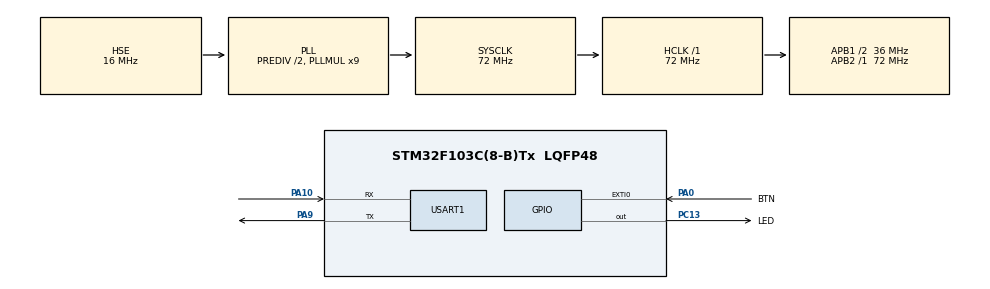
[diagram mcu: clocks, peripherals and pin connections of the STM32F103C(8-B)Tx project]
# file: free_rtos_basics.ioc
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Mcu.Family=STM32F1
RCC.PLLSourceVirtual=RCC_PLLSOURCE_HSE
FREERTOS.Queues01=tickQueue,16,uint32_t,0,Dynamic,NULL,NULL
FREERTOS.Tasks01=defaultTask,24,128,StartDefaultTask,Default,NULL,Dynamic,NULL,NULL;ControlTask,24,128,StartTask02,Default,NULL,Dynamic,NULL,NULL;LedTask,8,64,StartTask03,Default,NULL,Dynamic,NULL,NULL;TickTask,8,128,StartTask04,Default,NULL,Dynamic,NULL,NULL;ButtonTask,8,64,StartTask05,Default,NULL,Dynamic,NULL,NULL;StatsTask,8,128,StartTask06,Default,NULL,Dynamic,NULL,NULL
FREERTOS.BinarySemaphores01=ledSemaphore,Dynamic,NULL;buttonSemaphore,Dynamic,NULL
PD1-OSC_OUT.Mode=HSE-External-Oscillator
PA10.Mode=Asynchronous
PC13-TAMPER-RTC.Signal=GPIO_Output
PD0-OSC_IN.Signal=RCC_OSC_IN
RCC.APB1CLKDivider=RCC_HCLK_DIV2
PA0-WKUP.GPIO_ModeDefaultEXTI=GPIO_MODE_IT_RISING
RCC.SYSCLKSource=RCC_SYSCLKSOURCE_PLLCLK
ProjectManager.StackSize=0x400
PA0-WKUP.GPIO_Label=BTN
PA0-WKUP.Signal=GPXTI0
VP_FREERTOS_VS_CMSIS_V2.Mode=CMSIS_V2
PD1-OSC_OUT.Signal=RCC_OSC_OUT
PA13.Signal=SYS_JTMS-SWDIO
PA9.Mode=Asynchronous
ProjectManager.TargetToolchain=STM32CubeIDE
RCC.HCLKFreq_Value=72000000
RCC.APB2TimFreq_Value=72000000
PA9.Signal=USART1_TX
RCC.USBFreq_Value=72000000
FREERTOS.configMINIMAL_STACK_SIZE=64
RCC.AHBFreq_Value=72000000
PD0-OSC_IN.Mode=HSE-External-Oscillator
RCC.HSE_VALUE=16000000
board=custom
PC13-TAMPER-RTC.GPIO_Label=LED
RCC.PLLMUL=RCC_PLL_MUL9
RCC.APB2Freq_Value=72000000
PA14.Mode=Serial_Wire
PA13.Mode=Serial_Wire
Mcu.Name=STM32F103C(8-B)Tx
FREERTOS.configTOTAL_HEAP_SIZE=6144 
RCC.SYSCLKFreq_VALUE=72000000
Mcu.Package=LQFP48
FREERTOS.configUSE_NEWLIB_REENTRANT=1
NVIC.TimeBase=TIM4_IRQn
RCC.HSEDivPLL=RCC_HSE_PREDIV_DIV2
USART1.VirtualMode=VM_ASYNC
NVIC.TimeBaseIP=TIM4
PA10.Signal=USART1_RX
PA14.Signal=SYS_JTCK-SWCLK
ProjectManager.HeapSize=0x200
VP_SYS_VS_tim4.Mode=TIM4
FREERTOS.Mutexes01=ledMutex,Dynamic,NULL;printMutex,Dynamic,NULL
NVIC.PriorityGroup=NVIC_PRIORITYGROUP_4
RCC.APB1TimFreq_Value=72000000
NVIC.USART1_IRQn=true\:5\:0\:false\:false\:true\:true\:true\:true
NVIC.TIM4_IRQn=true\:0\:0\:false\:false\:true\:false\:false\:true
RCC.APB1Freq_Value=36000000

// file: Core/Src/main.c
/* USER CODE BEGIN Header */
/**
  ******************************************************************************
  * @file           : main.c
  * @brief          : Main program body
  ******************************************************************************
  * @attention
  *
  * <h2><center>&copy; Copyright (c) 2026 STMicroelectronics.
  * All rights reserved.</center></h2>
  *
  * This software component is licensed by ST under BSD 3-Clause license,
  * the "License"; You may not use this file except in compliance with the
  * License. You may obtain a copy of the License at:
  *                        opensource.org/licenses/BSD-3-Clause
  *
  ******************************************************************************
  */
/* USER CODE END Header */
#include "main.h"
#include "cmsis_os.h"

UART_HandleTypeDef huart1;

/* Definitions for defaultTask */
osThreadId_t defaultTaskHandle;
const osThreadAttr_t defaultTask_attributes = {
  .name = "defaultTask",
  .stack_size = 128 * 4,
  .priority = (osPriority_t) osPriorityNormal,
};
/* Definitions for ControlTask */
osThreadId_t ControlTaskHandle;
const osThreadAttr_t ControlTask_attributes = {
  .name = "ControlTask",
  .stack_size = 128 * 4,
  .priority = (osPriority_t) osPriorityNormal,
};
/* Definitions for LedTask */
osThreadId_t LedTaskHandle;
const osThreadAttr_t LedTask_attributes = {
  .name = "LedTask",
  .stack_size = 64 * 4,
  .priority = (osPriority_t) osPriorityLow,
};
/* Definitions for TickTask */
osThreadId_t TickTaskHandle;
const osThreadAttr_t TickTask_attributes = {
  .name = "TickTask",
  .stack_size = 128 * 4,
  .priority = (osPriority_t) osPriorityLow,
};
/* Definitions for ButtonTask */
osThreadId_t ButtonTaskHandle;
const osThreadAttr_t ButtonTask_attributes = {
  .name = "ButtonTask",
  .stack_size = 64 * 4,
  .priority = (osPriority_t) osPriorityLow,
};
/* Definitions for StatsTask */
osThreadId_t StatsTaskHandle;
const osThreadAttr_t StatsTask_attributes = {
  .name = "StatsTask",
  .stack_size = 128 * 4,
  .priority = (osPriority_t) osPriorityLow,
};
/* Definitions for tickQueue */
osMessageQueueId_t tickQueueHandle;
const osMessageQueueAttr_t tickQueue_attributes = {
  .name = "tickQueue"
};
/* Definitions for ledMutex */
osMutexId_t ledMutexHandle;
const osMutexAttr_t ledMutex_attributes = {
  .name = "ledMutex"
};
/* Definitions for printMutex */
osMutexId_t printMutexHandle;
const osMutexAttr_t printMutex_attributes = {
  .name = "printMutex"
};
/* Definitions for ledSemaphore */
osSemaphoreId_t ledSemaphoreHandle;
const osSemaphoreAttr_t ledSemaphore_attributes = {
  .name = "ledSemaphore"
};
/* Definitions for buttonSemaphore */
osSemaphoreId_t buttonSemaphoreHandle;
const osSemaphoreAttr_t buttonSemaphore_attributes = {
  .name = "buttonSemaphore"
};

void SystemClock_Config(void);
static void MX_GPIO_Init(void);
static void MX_USART1_UART_Init(void);
void StartDefaultTask(void *argument);
void StartTask02(void *argument);
void StartTask03(void *argument);
void StartTask04(void *argument);
void StartTask05(void *argument);
void StartTask06(void *argument);

/* USER CODE BEGIN PFP */

// Safe UART print using mutex
void UART_Print(const char *msg)
{
    if(osMutexAcquire(printMutexHandle, osWaitForever) == osOK)
    {
        HAL_UART_Transmit(&huart1, (uint8_t*)msg, strlen(msg), HAL_MAX_DELAY);
        osMutexRelease(printMutexHandle);
    }
}

// Toggle LED safely using mutex
void LED_Toggle(GPIO_TypeDef *port, uint16_t pin)
{
    if(osMutexAcquire(ledMutexHandle, osWaitForever) == osOK)
    {
        HAL_GPIO_TogglePin(port, pin);
        osMutexRelease(ledMutexHandle);
    }
}

/* USER CODE END PFP */

int main(void)
{

  /* MCU Configuration--------------------------------------------------------*/

  /* Reset of all peripherals, Initializes the Flash interface and the Systick. */
  HAL_Init();

  /* Configure the system clock */
  SystemClock_Config();

  /* Initialize all configured peripherals */
  MX_GPIO_Init();
  MX_USART1_UART_Init();

  /* Init scheduler */
  osKernelInitialize();
  /* Create the mutex(es) */
  /* creation of ledMutex */
  ledMutexHandle = osMutexNew(&ledMutex_attributes);

  /* creation of printMutex */
  printMutexHandle = osMutexNew(&printMutex_attributes);

  /* Create the semaphores(s) */
  /* creation of ledSemaphore */
  ledSemaphoreHandle = osSemaphoreNew(1, 1, &ledSemaphore_attributes);

  /* creation of buttonSemaphore */
  buttonSemaphoreHandle = osSemaphoreNew(1, 1, &buttonSemaphore_attributes);

  /* Create the queue(s) */
  /* creation of tickQueue */
  tickQueueHandle = osMessageQueueNew (16, sizeof(uint32_t), &tickQueue_attributes);

  /* Create the thread(s) */
  /* creation of defaultTask */
  defaultTaskHandle = osThreadNew(StartDefaultTask, NULL, &defaultTask_attributes);

  /* creation of ControlTask */
  ControlTaskHandle = osThreadNew(StartTask02, NULL, &ControlTask_attributes);

  /* creation of LedTask */
  LedTaskHandle = osThreadNew(StartTask03, NULL, &LedTask_attributes);

  /* creation of TickTask */
  TickTaskHandle = osThreadNew(StartTask04, NULL, &TickTask_attributes);

  /* creation of ButtonTask */
  ButtonTaskHandle = osThreadNew(StartTask05, NULL, &ButtonTask_attributes);

  /* creation of StatsTask */
  StatsTaskHandle = osThreadNew(StartTask06, NULL, &StatsTask_attributes);

  /* Start scheduler */
  osKernelStart();

  /* We should never get here as control is now taken by the scheduler */
  /* Infinite loop */
  while (1)
  {

  }
}

void SystemClock_Config(void)
{
  RCC_OscInitTypeDef RCC_OscInitStruct = {0};
  RCC_ClkInitTypeDef RCC_ClkInitStruct = {0};

  /** Initializes the RCC Oscillators according to the specified parameters
  * in the RCC_OscInitTypeDef structure.
  */
  RCC_OscInitStruct.OscillatorType = RCC_OSCILLATORTYPE_HSE;
  RCC_OscInitStruct.HSEState = RCC_HSE_ON;
  RCC_OscInitStruct.HSEPredivValue = RCC_HSE_PREDIV_DIV2;
  RCC_OscInitStruct.HSIState = RCC_HSI_ON;
  RCC_OscInitStruct.PLL.PLLState = RCC_PLL_ON;
  RCC_OscInitStruct.PLL.PLLSource = RCC_PLLSOURCE_HSE;
  RCC_OscInitStruct.PLL.PLLMUL = RCC_PLL_MUL9;
  if (HAL_RCC_OscConfig(&RCC_OscInitStruct) != HAL_OK)
  {
    Error_Handler();
  }
  /** Initializes the CPU, AHB and APB buses clocks
  */
  RCC_ClkInitStruct.ClockType = RCC_CLOCKTYPE_HCLK|RCC_CLOCKTYPE_SYSCLK
                              |RCC_CLOCKTYPE_PCLK1|RCC_CLOCKTYPE_PCLK2;
  RCC_ClkInitStruct.SYSCLKSource = RCC_SYSCLKSOURCE_PLLCLK;
  RCC_ClkInitStruct.AHBCLKDivider = RCC_SYSCLK_DIV1;
  RCC_ClkInitStruct.APB1CLKDivider = RCC_HCLK_DIV2;
  RCC_ClkInitStruct.APB2CLKDivider = RCC_HCLK_DIV1;

  if (HAL_RCC_ClockConfig(&RCC_ClkInitStruct, FLASH_LATENCY_2) != HAL_OK)
  {
    Error_Handler();
  }
}

static void MX_USART1_UART_Init(void)
{

  huart1.Instance = USART1;
  huart1.Init.BaudRate = 115200;
  huart1.Init.WordLength = UART_WORDLENGTH_8B;
  huart1.Init.StopBits = UART_STOPBITS_1;
  huart1.Init.Parity = UART_PARITY_NONE;
  huart1.Init.Mode = UART_MODE_TX_RX;
  huart1.Init.HwFlowCtl = UART_HWCONTROL_NONE;
  huart1.Init.OverSampling = UART_OVERSAMPLING_16;
  if (HAL_UART_Init(&huart1) != HAL_OK)
  {
    Error_Handler();
  }

}

static void MX_GPIO_Init(void)
{
  GPIO_InitTypeDef GPIO_InitStruct = {0};

  /* GPIO Ports Clock Enable */
  __HAL_RCC_GPIOC_CLK_ENABLE();
  __HAL_RCC_GPIOD_CLK_ENABLE();
  __HAL_RCC_GPIOA_CLK_ENABLE();

  /*Configure GPIO pin Output Level */
  HAL_GPIO_WritePin(LED_GPIO_Port, LED_Pin, GPIO_PIN_RESET);

  /*Configure GPIO pin : LED_Pin */
  GPIO_InitStruct.Pin = LED_Pin;
  GPIO_InitStruct.Mode = GPIO_MODE_OUTPUT_PP;
  GPIO_InitStruct.Pull = GPIO_NOPULL;
  GPIO_InitStruct.Speed = GPIO_SPEED_FREQ_LOW;
  HAL_GPIO_Init(LED_GPIO_Port, &GPIO_InitStruct);

  /*Configure GPIO pin : BTN_Pin */
  GPIO_InitStruct.Pin = BTN_Pin;
  GPIO_InitStruct.Mode = GPIO_MODE_IT_RISING;
  GPIO_InitStruct.Pull = GPIO_NOPULL;
  HAL_GPIO_Init(BTN_GPIO_Port, &GPIO_InitStruct);

}

void StartDefaultTask(void *argument)
{
  /* USER CODE BEGIN 5 */
  /* Infinite loop */
  for(;;)
  {
      UART_Print("System running...\r\n");
      osDelay(1000); // print every 1 sec
  }
  /* USER CODE END 5 */
}

void StartTask02(void *argument)
{
  /* USER CODE BEGIN StartTask02 */
  /* Infinite loop */
  for(;;)
  {
      // Wait for sensor/tick data
      if(osMessageQueueGet(tickQueueHandle, &value, NULL, 100) == osOK)
      {
          char buf[50];
          sprintf(buf, "ControlTask received: %lu\r\n", value);
          UART_Print(buf);
      }
      osDelay(10);
  }
  /* USER CODE END StartTask02 */
}

void StartTask03(void *argument)
{
  /* USER CODE BEGIN StartTask03 */
  /* Infinite loop */
  for(;;)
  {
      // Wait for semaphore to toggle LED
      if(osSemaphoreAcquire(ledSemaphoreHandle, osWaitForever) == osOK)
      {
          LED_Toggle(LED_GPIO_Port, LED_Pin);
      }
  }
  /* USER CODE END StartTask03 */
}

void StartTask04(void *argument)
{
  /* USER CODE BEGIN StartTask04 */
  /* Infinite loop */
  for(;;)
  {
      tick++;
      // Send tick to queue
      osMessageQueuePut(tickQueueHandle, &tick, 0, 0);
      osDelay(500); // 500ms tick
  }
  /* USER CODE END StartTask04 */
}

void StartTask05(void *argument)
{
  /* USER CODE BEGIN StartTask05 */
  /* Infinite loop */
  for(;;)
  {
      if(HAL_GPIO_ReadPin(BTN_GPIO_Port, BTN_Pin) == GPIO_PIN_SET)
      {
          osSemaphoreRelease(ledSemaphoreHandle); // trigger LED toggle
          osDelay(200); // debounce delay
      }
      osDelay(10);
  }
  /* USER CODE END StartTask05 */
}

void StartTask06(void *argument)
{
  /* USER CODE BEGIN StartTask06 */
  /* Infinite loop */
  for(;;)
  {
      char buf[50];
      sprintf(buf, "Free heap: %lu\r\n", xPortGetFreeHeapSize());
      UART_Print(buf);
      osDelay(2000); // print every 2 sec
  }
  /* USER CODE END StartTask06 */
}

 /**
  * @brief  Period elapsed callback in non blocking mode
  * @note   This function is called  when TIM4 interrupt took place, inside
  * HAL_TIM_IRQHandler(). It makes a direct call to HAL_IncTick() to increment
  * a global variable "uwTick" used as application time base.
  * @param  htim : TIM handle
  * @retval None
  */
void HAL_TIM_PeriodElapsedCallback(TIM_HandleTypeDef *htim)
{
  if (htim->Instance == TIM4) {
    HAL_IncTick();
  }
}

void Error_Handler(void)
{
  __disable_irq();
  while (1)
  {
  }
}

/************************ (C) COPYRIGHT STMicroelectronics *****END OF FILE****/
